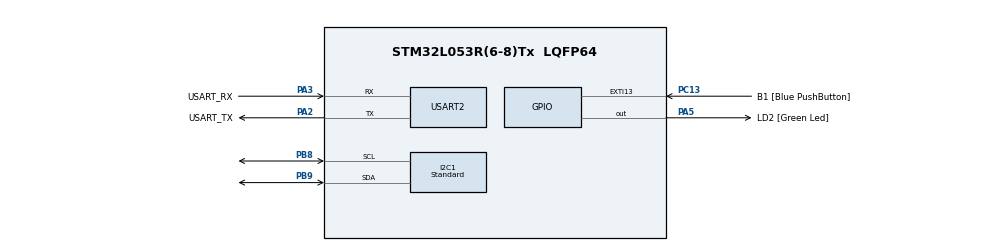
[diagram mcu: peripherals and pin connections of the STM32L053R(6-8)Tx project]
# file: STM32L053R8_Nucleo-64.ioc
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I2C1.I2C_Fall_Time=10
I2C1.I2C_Rise_Time=10
I2C1.I2C_Speed_Mode=I2C_Standard
I2C1.Timing=0x00605C8B
Mcu.Family=STM32L0
Mcu.Name=STM32L053R(6-8)Tx
Mcu.Package=LQFP64
NVIC.EXTI4_15_IRQn=true\:0\:0\:false\:false\:true\:true\:true\:true
NVIC.PVD_IRQn=true\:0\:0\:false\:false\:true\:true\:true\:true
PA13.GPIO_Label=TMS
PA13.Mode=Serial_Wire
PA13.Signal=SYS_SWDIO
PA14.GPIO_Label=TCK
PA14.Mode=Serial_Wire
PA14.Signal=SYS_SWCLK
PA2.GPIO_Label=USART_TX
PA2.Mode=Asynchronous
PA2.Signal=USART2_TX
PA3.GPIO_Label=USART_RX
PA3.Mode=Asynchronous
PA3.Signal=USART2_RX
PA5.GPIO_Label=LD2 [Green Led]
PA5.Signal=GPIO_Output
PB8.GPIO_Pu=GPIO_PULLUP
PB8.GPIO_Speed=GPIO_SPEED_FREQ_HIGH
PB8.Mode=I2C
PB8.Signal=I2C1_SCL
PB9.GPIO_Pu=GPIO_PULLUP
PB9.GPIO_Speed=GPIO_SPEED_FREQ_HIGH
PB9.Mode=I2C
PB9.Signal=I2C1_SDA
PC13.GPIO_Label=B1 [Blue PushButton]
PC13.GPIO_ModeDefaultEXTI=GPIO_MODE_IT_FALLING
PC13.Signal=GPXTI13
PC14-OSC32_IN.Mode=LSE-External-Oscillator
PC14-OSC32_IN.Signal=RCC_OSC32_IN
PC15-OSC32_OUT.Mode=LSE-External-Oscillator
PC15-OSC32_OUT.Signal=RCC_OSC32_OUT
PH0-OSC_IN.Mode=HSE-External-Oscillator
PH0-OSC_IN.Signal=RCC_OSC_IN
PH1-OSC_OUT.Mode=HSE-External-Oscillator
PH1-OSC_OUT.Signal=RCC_OSC_OUT
ProjectManager.HeapSize=0x200
ProjectManager.StackSize=0x400
ProjectManager.TargetToolchain=EWARM V8
RCC.AHBFreq_Value=24000000
RCC.APB1Freq_Value=24000000
RCC.APB1TimFreq_Value=24000000
RCC.APB2Freq_Value=24000000
RCC.APB2TimFreq_Value=24000000
RCC.HCLKFreq_Value=24000000
RCC.HSE_VALUE=8000000
RCC.HSI16_VALUE=16000000
RCC.HSI48_VALUE=48000000
RCC.HSI_VALUE=16000000
RCC.MSI_VALUE=2097000
RCC.SYSCLKFreq_VALUE=24000000
RCC.SYSCLKSource=RCC_SYSCLKSOURCE_PLLCLK
RCC.VCOOutputFreq_Value=48000000
USART2.VirtualMode-Asynchronous=VM_ASYNC
VP_SYS_V_PVD_IN.Mode=Mode_PVD_Int
board=NUCLEO-L053R8

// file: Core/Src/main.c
/* USER CODE BEGIN Header */
/**
  ******************************************************************************
  * @file           : main.c
  * @brief          : Main program body
  ******************************************************************************
  * @attention
  *
  * <h2><center>&copy; Copyright (c) 2021 STMicroelectronics.
  * All rights reserved.</center></h2>
  *
  * This software component is licensed by ST under BSD 3-Clause license,
  * the "License"; You may not use this file except in compliance with the
  * License. You may obtain a copy of the License at:
  *                        opensource.org/licenses/BSD-3-Clause
  *
  ******************************************************************************
  */
/* USER CODE END Header */
#include "main.h"
#include "i2c.h"
#include "usart.h"
#include "gpio.h"

/* USER CODE BEGIN Includes */
#include "stm32_ds3231.h"
#include <stdio.h>  //printf()
#include <string.h> // memset()
/* USER CODE END Includes */

/* USER CODE BEGIN PM */
#define BUTTON    B1_GPIO_Port,B1_Pin
#define LED       LD2_GPIO_Port,LD2_Pin

#define HALF_SECOND_DELAYS  5
/* USER CODE END PM */

/* USER CODE BEGIN PV */
uint32_t counter;
float temp;
extern I2C_HandleTypeDef hi2c1; // from i2c.c, changes for I2C2

//uint8_t aTxBuffer[100] = {0};

/* USER CODE END PV */

void SystemClock_Config(void);

/* USER CODE BEGIN 0 */
RTC_st rtc = {
    .Year = 21, .Month = 10, .Date = 17,
    .DaysOfWeek = SUNDAY,
    .Hour = 22, .Min = 16, .Sec = 0
};

/* USER CODE END 0 */

int main(void)
{

  /* MCU Configuration--------------------------------------------------------*/

  /* Reset of all peripherals, Initializes the Flash interface and the Systick. */
  HAL_Init();

  /* Configure the system clock */
  SystemClock_Config();

  /* Initialize all configured peripherals */
  MX_GPIO_Init();
  MX_USART2_UART_Init();
  MX_I2C1_Init();
  /* USER CODE BEGIN 2 */

  LL_GPIO_SetOutputPin(LED);

  // wait for button to be released.
  printf("waiting: ");
  while (LL_GPIO_IsInputPinSet(BUTTON))
  {
    counter++;
    printf(".");
    HAL_Delay(100);
    if (counter % 20 == 0)
      printf("\n");
  }

  printf("\n");
  LL_GPIO_ResetOutputPin(LED);

//  counter = 0;
//  while(HAL_I2C_Master_Transmit(&hi2c1, (uint16_t)DS3231_ADDR, (uint8_t*)aTxBuffer, sizeof(aTxBuffer), 10000)!= HAL_OK)
//  {
//        /* Error_Handler() function is called when Timeout error occurs.
//       When Acknowledge failure occurs (Slave don't acknowledge its address)
//       Master restarts communication */
//    if (HAL_I2C_GetError(&hi2c1) != HAL_I2C_ERROR_AF)
//    {
//      Error_Handler();
//    }
//    counter++;
//  }
//
  // make sure the button is released
  while (!LL_GPIO_IsInputPinSet(BUTTON))
    ;

  printf("looking for DS3231.\n");

  counter = 10;
  while(!DS3231_Init(&hi2c1) && counter--)
  {
    printf("DS3231 init failed!\n");
    printf("%d tries remaining.\n", counter);
    HAL_Delay(100);
    LL_GPIO_TogglePin(LED);
  }

  LL_GPIO_SetOutputPin(LED);
  printf("success! DS3231 answered!\n");

  if (!DS3231_SetTime(&rtc))
    printf("DS3231 time set failed!\n");

  /* USER CODE END 2 */

  /* Infinite loop */
  /* USER CODE BEGIN WHILE */
  while (1)
  {
    memset(&rtc,0,sizeof(rtc));
    printf("reading: ");
    if(!DS3231_GetTime(&rtc))
    {
      printf("get time failed\n");
      LL_GPIO_ResetOutputPin(LED);
    }
    else
    {
      LL_GPIO_SetOutputPin(LED);
      printf("year: %d, month %d date %d\n", rtc.Year,rtc.Month,rtc.Date);
      printf("%2d:%2d:%2d\n", rtc.Hour,rtc.Min,rtc.Sec);
    }

    if(DS3231_ReadTemperature(&temp))
    {
      printf("temperature is %2.2fC\n",temp);
    }

    for (int i = 0; i < HALF_SECOND_DELAYS; i++)
    {
      HAL_Delay(500);
      printf(".");
    }
    printf("\n");

    /* USER CODE END WHILE */

  }
}

void SystemClock_Config(void)
{
  LL_FLASH_SetLatency(LL_FLASH_LATENCY_1);
  while(LL_FLASH_GetLatency()!= LL_FLASH_LATENCY_1)
  {
  }
  LL_PWR_SetRegulVoltageScaling(LL_PWR_REGU_VOLTAGE_SCALE1);
  LL_RCC_HSI_Enable();

   /* Wait till HSI is ready */
  while(LL_RCC_HSI_IsReady() != 1)
  {

  }
  LL_RCC_HSI_SetCalibTrimming(16);
  LL_RCC_PLL_ConfigDomain_SYS(LL_RCC_PLLSOURCE_HSI, LL_RCC_PLL_MUL_3, LL_RCC_PLL_DIV_2);
  LL_RCC_PLL_Enable();

   /* Wait till PLL is ready */
  while(LL_RCC_PLL_IsReady() != 1)
  {

  }
  LL_RCC_SetAHBPrescaler(LL_RCC_SYSCLK_DIV_1);
  LL_RCC_SetAPB1Prescaler(LL_RCC_APB1_DIV_1);
  LL_RCC_SetAPB2Prescaler(LL_RCC_APB2_DIV_1);
  LL_RCC_SetSysClkSource(LL_RCC_SYS_CLKSOURCE_PLL);

   /* Wait till System clock is ready */
  while(LL_RCC_GetSysClkSource() != LL_RCC_SYS_CLKSOURCE_STATUS_PLL)
  {

  }
  LL_SetSystemCoreClock(24000000);

   /* Update the time base */
  if (HAL_InitTick (TICK_INT_PRIORITY) != HAL_OK)
  {
    Error_Handler();
  }
  LL_RCC_SetUSARTClockSource(LL_RCC_USART2_CLKSOURCE_PCLK1);
  LL_RCC_SetI2CClockSource(LL_RCC_I2C1_CLKSOURCE_PCLK1);
}

void Error_Handler(void)
{
  __disable_irq();
  while (1)
  {
  }
}

/************************ (C) COPYRIGHT STMicroelectronics *****END OF FILE****/
